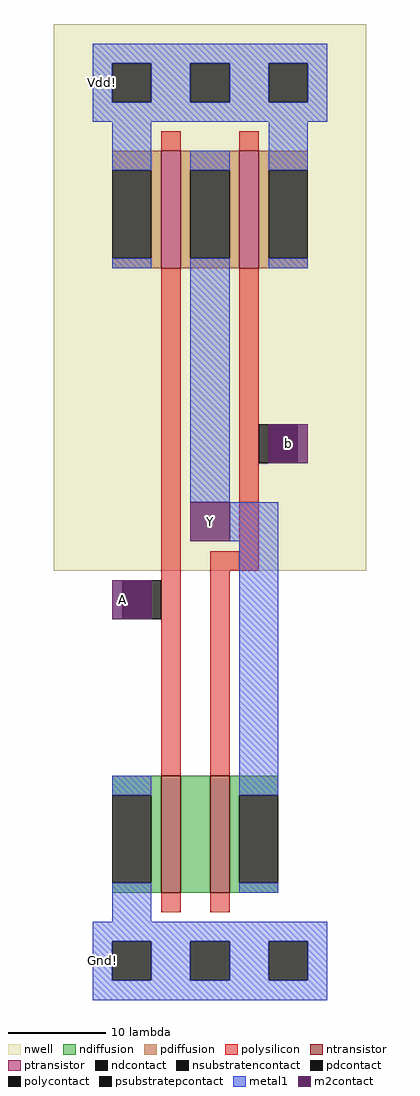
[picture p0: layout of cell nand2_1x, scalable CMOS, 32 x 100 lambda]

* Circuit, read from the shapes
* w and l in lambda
.subckt nand2_1x A Gnd! Vdd! Y b
M1 n1 A Gnd! Gnd! nfet w=12 l=2
M2 Y b n1 Gnd! nfet w=12 l=2
M3 Y A Vdd! Vdd! pfet w=12 l=2
M4 Vdd! b Y Vdd! pfet w=12 l=2
.ends

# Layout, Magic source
magic
tech scmos
<< nwell >>
rect -6 40 26 96
<< ntransistor >>
rect 5 7 7 19
rect 10 7 12 19
<< ptransistor >>
rect 5 71 7 83
rect 13 71 15 83
<< ndiffusion >>
rect 0 17 5 19
rect 4 8 5 17
rect 0 7 5 8
rect 7 7 10 19
rect 12 17 17 19
rect 12 8 13 17
rect 12 7 17 8
<< pdiffusion >>
rect 0 81 5 83
rect 4 72 5 81
rect 0 71 5 72
rect 7 81 13 83
rect 7 72 8 81
rect 12 72 13 81
rect 7 71 13 72
rect 15 81 20 83
rect 15 72 16 81
rect 15 71 20 72
<< ndcontact >>
rect 0 8 4 17
rect 13 8 17 17
<< pdcontact >>
rect 0 72 4 81
rect 8 72 12 81
rect 16 72 20 81
<< psubstratepcontact >>
rect 0 -2 4 2
rect 8 -2 12 2
rect 16 -2 20 2
<< nsubstratencontact >>
rect 0 88 4 92
rect 8 88 12 92
rect 16 88 20 92
<< polysilicon >>
rect 5 83 7 85
rect 13 83 15 85
rect 5 19 7 71
rect 13 42 15 71
rect 10 40 15 42
rect 10 19 12 40
rect 5 5 7 7
rect 10 5 12 7
<< polycontact >>
rect 1 35 5 39
rect 15 51 19 55
<< metal1 >>
rect -2 92 22 94
rect -2 88 0 92
rect 4 88 8 92
rect 12 88 16 92
rect 20 88 22 92
rect -2 86 22 88
rect 0 81 4 86
rect 0 71 4 72
rect 8 81 12 83
rect 8 47 12 72
rect 16 81 20 86
rect 16 71 20 72
rect 12 43 17 47
rect 0 17 4 19
rect 0 4 4 8
rect 13 17 17 43
rect 13 7 17 8
rect -2 2 22 4
rect -2 -2 0 2
rect 4 -2 8 2
rect 12 -2 16 2
rect 20 -2 22 2
rect -2 -4 22 -2
<< m2contact >>
rect 16 51 19 55
rect 19 51 20 55
rect 8 43 12 47
rect 0 35 1 39
rect 1 35 4 39
<< labels >>
rlabel m2contact 1 37 1 37 1 A
rlabel m2contact 10 45 10 45 1 Y
rlabel m2contact 18 53 18 53 1 b
rlabel metal1 -1 90 -1 90 3 Vdd!
rlabel metal1 -1 0 -1 0 3 Gnd!
<< end >>
